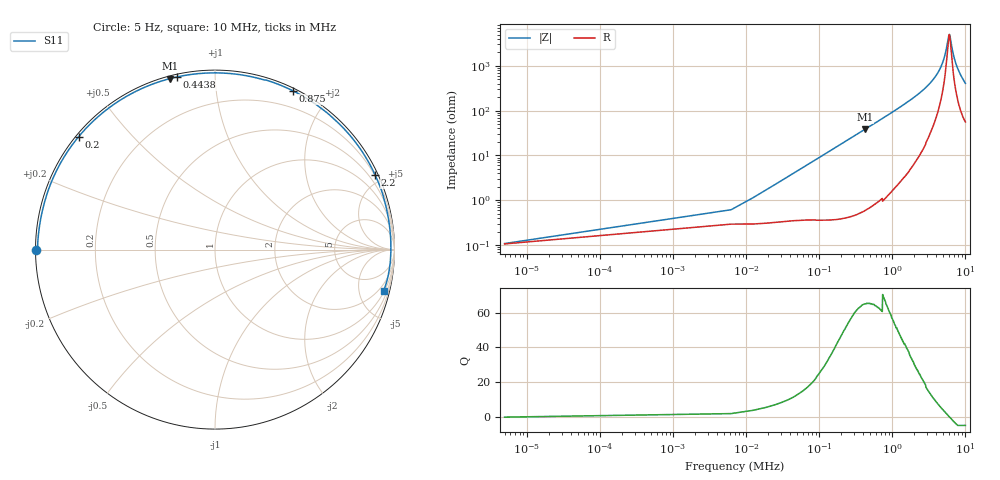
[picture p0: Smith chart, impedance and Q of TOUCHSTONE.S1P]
!Keysight Technologies,E5061B,MY49912438,B.06.30
!Date: Thu Nov 06 18:51:16 2025
!Data & Calibration Information:
!Freq	S11:SOLT1(ON)
# Hz S RI R 50
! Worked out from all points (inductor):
!   1601 points, 5 Hz to 10 MHz, reference 50 ohm
!   read as one part to ground: L = 14.2 uH near 50 kHz
!   highest Q = 65.1 at 425 kHz (marker M1), where L = 14.4 uH
!   self-resonance near 6.028 MHz
!   S11 on the Smith chart (normalised r, x): 5 Hz: 0.00, -0.00; 200 kHz: 0.01, +0.36; 443.8 kHz: 0.01, +0.80; 875 kHz: 0.03, +1.61; 2.2 MHz: 0.17, +4.51; 10 MHz: 1.12, -8.06
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5  -0.9958 -0.000846
37504.98  -0.9776 0.1317
100004.9  -0.9247 0.3428
150004.9  -0.8528 0.4959
200004.9  -0.7601 0.6288
250004.9  -0.6534 0.7388
306254.8  -0.5243 0.835
362504.8  -0.3935 0.9037
425004.8  -0.2527 0.9523
443754.8  -0.2121 0.9621
537504.7  -0.0242 0.9844
650004.7  0.1645 0.9706
756254.6  0.3072 0.9373
875004.6  0.4347 0.8848
1050004  0.5728 0.8016
1250004  0.681 0.7116
1437504  0.7516 0.6366
1656254  0.8098 0.5609
1912504  0.8566 0.4856
2200004  0.8922 0.4158
2500004  0.9177 0.3553
3050003  0.9456 0.2668
3750003  0.9646 0.1823
5000002  0.9781 0.0717
6250002  0.9799 -0.0142
7500001  0.9743 -0.0894
8750001  0.9612 -0.1608
1e7  0.9388 -0.2322
